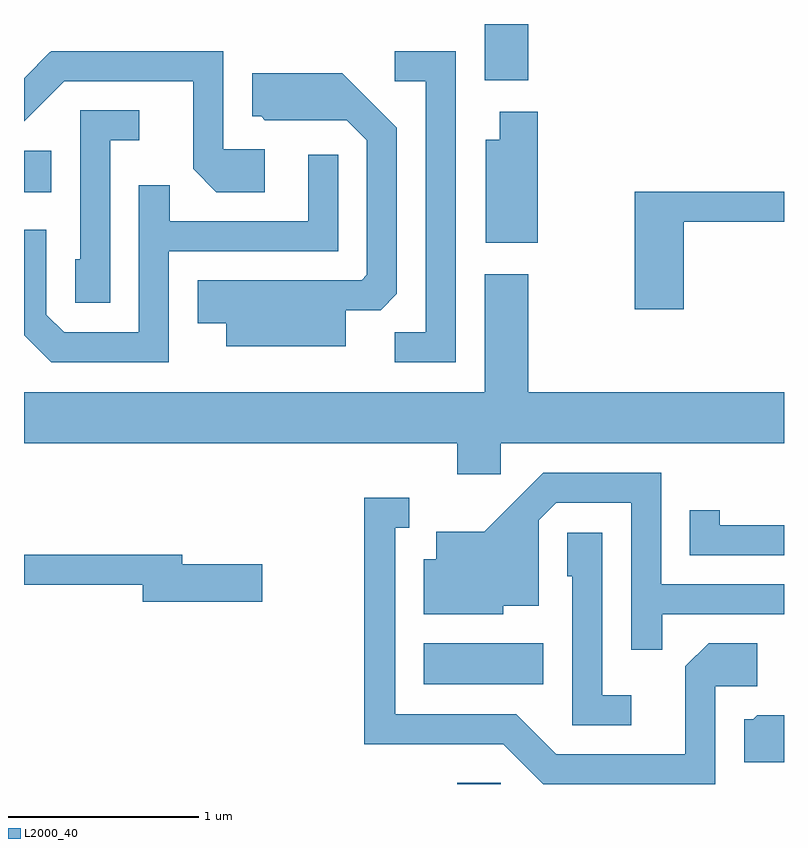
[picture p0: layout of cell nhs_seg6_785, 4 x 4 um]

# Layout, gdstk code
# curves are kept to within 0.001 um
import gdstk
lib = gdstk.Library(unit=1e-6, precision=1e-09)
def R(c, l, rs):  # rectangles x0, y0, x1, y1
    for r in rs: c.add(gdstk.rectangle(r[:2], r[2:], *l))
def P(c, l, *ps):  # polygons
    for p in ps: c.add(gdstk.Polygon(p, *l))
L2000_40 = (2000, 40)

nhs_seg6_785 = lib.new_cell('nhs_seg6_785')
R(nhs_seg6_785, L2000_40, [(209.891,1628.162,210.119,1628.169), (209.716,1628.686,210.344,1628.904), (207.611,1631.276,207.754,1631.494), (210.036,1631.866,210.264,1632.162)])
P(nhs_seg6_785, L2000_40, [(208.879,1631.504),(208.659,1631.504),(208.659,1632.019),(207.754,1632.019),(207.611,1631.876),(207.611,1631.651),(207.822,1631.861),(208.501,1631.861),(208.501,1631.399),(208.624,1631.276),(208.879,1631.276)],
  [(209.884,1632.019),(209.563,1632.019),(209.563,1631.861),(209.726,1631.861),(209.726,1630.539),(209.563,1630.539),(209.563,1630.381),(209.884,1630.381)],
  [(209.304,1630.656),(209.489,1630.656),(209.574,1630.742),(209.574,1631.617),(209.287,1631.904),(208.811,1631.904),(208.811,1631.676),(208.859,1631.676),(208.879,1631.656),(209.309,1631.656),(209.416,1631.549),(209.416,1630.842),(209.389,1630.814),(208.526,1630.814),(208.526,1630.586),(208.676,1630.586),(208.676,1630.466),(209.304,1630.466)],
  [(208.064,1631.551),(208.218,1631.551),(208.218,1631.709),(207.906,1631.709),(207.906,1630.924),(207.881,1630.924),(207.881,1630.696),(208.064,1630.696)],
  [(210.314,1631.699),(210.116,1631.699),(210.116,1631.554),(210.041,1631.554),(210.041,1631.011),(210.314,1631.011)],
  [(208.374,1630.966),(209.264,1630.966),(209.264,1631.473),(209.106,1631.473),(209.106,1631.124),(208.379,1631.124),(208.379,1631.313),(208.216,1631.313),(208.216,1630.539),(207.822,1630.539),(207.729,1630.632),(207.729,1631.079),(207.611,1631.079),(207.611,1630.524),(207.754,1630.381),(208.374,1630.381)],
  [(211.084,1631.121),(211.611,1631.121),(211.611,1631.279),(210.826,1631.279),(210.826,1630.661),(211.084,1630.661)],
  [(210.119,1629.956),(211.611,1629.956),(211.611,1630.224),(210.264,1630.224),(210.264,1630.844),(210.036,1630.844),(210.036,1630.224),(207.611,1630.224),(207.611,1629.956),(209.891,1629.956),(209.891,1629.791),(210.119,1629.791)],
  [(210.969,1629.056),(211.611,1629.056),(211.611,1629.214),(210.964,1629.214),(210.964,1629.799),(210.344,1629.799),(210.034,1629.489),(209.781,1629.489),(209.781,1629.344),(209.716,1629.344),(209.716,1629.056),(210.134,1629.056),(210.134,1629.101),(210.319,1629.101),(210.319,1629.549),(210.412,1629.641),(210.806,1629.641),(210.806,1628.868),(210.969,1628.868)],
  [(211.249,1628.676),(211.469,1628.676),(211.469,1628.904),(211.214,1628.904),(211.091,1628.782),(211.091,1628.319),(210.412,1628.319),(210.202,1628.529),(209.564,1628.529),(209.564,1629.511),(209.638,1629.511),(209.638,1629.669),(209.401,1629.669),(209.401,1628.371),(210.134,1628.371),(210.343,1628.162),(211.249,1628.162)],
  [(211.611,1629.524),(211.274,1629.524),(211.274,1629.603),(211.116,1629.603),(211.116,1629.366),(211.611,1629.366)],
  [(210.808,1628.629),(210.654,1628.629),(210.654,1629.484),(210.471,1629.484),(210.471,1629.256),(210.496,1629.256),(210.496,1628.471),(210.808,1628.471)],
  [(208.864,1629.319),(208.444,1629.319),(208.444,1629.369),(207.611,1629.369),(207.611,1629.211),(208.236,1629.211),(208.236,1629.121),(208.864,1629.121)],
  [(211.611,1628.524),(211.469,1628.524),(211.449,1628.504),(211.401,1628.504),(211.401,1628.276),(211.611,1628.276)])

lib.write_gds('nhs_seg6_785.gds')
